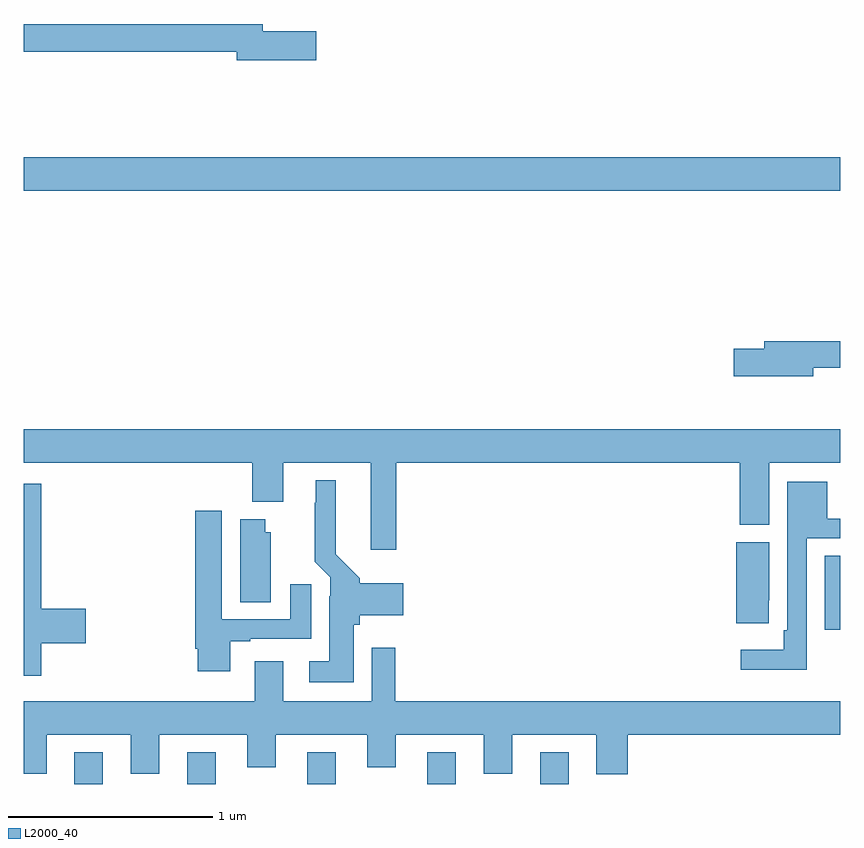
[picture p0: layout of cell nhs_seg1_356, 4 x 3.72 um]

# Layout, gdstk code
import gdstk
lib = gdstk.Library(unit=1e-6, precision=1e-09)
def R(c, l, rs):  # rectangles x0, y0, x1, y1
    for r in rs: c.add(gdstk.rectangle(r[:2], r[2:], *l))
def A(c, l, x, y, w, h, nx, ny, dx, dy):  # array of equal rectangles
    R(c, l, [(x+i*dx, y+j*dy, x+i*dx+w, y+j*dy+h) for i in range(nx) for j in range(ny)])
def P(c, l, *ps):  # polygons
    for p in ps: c.add(gdstk.Polygon(p, *l))
L2000_40 = (2000, 40)

nhs_seg1_356 = lib.new_cell('nhs_seg1_356')
A(nhs_seg1_356, L2000_40, 131.801, 510.199, 0.14, 0.156, 3, 1, 0.588, 0)
R(nhs_seg1_356, L2000_40, [(131.249,510.199,131.389,510.355), (133.529,510.199,133.669,510.355), (134.924,510.954,135,511.316), (131,513.104,135,513.268)])
P(nhs_seg1_356, L2000_40, [(132.433,513.884),(132.172,513.884),(132.172,513.92),(131,513.92),(131,513.784),(132.044,513.784),(132.044,513.742),(132.433,513.742)],
  [(134.866,512.238),(135,512.238),(135,512.366),(134.627,512.366),(134.627,512.33),(134.478,512.33),(134.478,512.195),(134.866,512.195)],
  [(132.824,511.772),(134.507,511.772),(134.507,511.468),(134.65,511.468),(134.65,511.772),(135,511.772),(135,511.936),(131,511.936),(131,511.772),(132.119,511.772),(132.119,511.58),(132.271,511.58),(132.271,511.772),(132.701,511.772),(132.701,511.347),(132.824,511.347)],
  [(132.616,510.978),(132.647,510.978),(132.647,511.025),(132.859,511.025),(132.859,511.183),(132.647,511.183),(132.647,511.206),(132.529,511.324),(132.529,511.687),(132.431,511.687),(132.431,511.577),(132.427,511.577),(132.427,511.286),(132.501,511.212),(132.501,511.118),(132.497,511.118),(132.497,510.799),(132.399,510.799),(132.399,510.698),(132.616,510.698)],
  [(134.835,511.401),(135,511.401),(135,511.497),(134.935,511.497),(134.935,511.678),(134.739,511.678),(134.739,510.952),(134.723,510.952),(134.723,510.856),(134.511,510.856),(134.511,510.758),(134.835,510.758)],
  [(131.087,510.887),(131.305,510.887),(131.305,511.058),(131.087,511.058),(131.087,511.669),(131,511.669),(131,510.729),(131.087,510.729)],
  [(132.013,510.897),(132.109,510.897),(132.109,510.909),(132.409,510.909),(132.409,511.177),(132.305,511.177),(132.305,511.005),(131.971,511.005),(131.971,511.537),(131.84,511.537),(131.84,510.862),(131.852,510.862),(131.852,510.75),(132.013,510.75)],
  [(132.211,511.431),(132.184,511.431),(132.184,511.495),(132.062,511.495),(132.062,511.09),(132.211,511.09)],
  [(134.649,511.099),(134.65,511.099),(134.65,511.383),(134.489,511.383),(134.489,510.987),(134.649,510.987)],
  [(133.958,510.44),(135,510.44),(135,510.604),(132.821,510.604),(132.821,510.865),(132.705,510.865),(132.705,510.604),(132.271,510.604),(132.271,510.799),(132.131,510.799),(132.131,510.604),(131,510.604),(131,510.25),(131.113,510.25),(131.113,510.44),(131.525,510.44),(131.525,510.25),(131.665,510.25),(131.665,510.44),(132.095,510.44),(132.095,510.28),(132.235,510.28),(132.235,510.44),(132.683,510.44),(132.683,510.28),(132.823,510.28),(132.823,510.44),(133.253,510.44),(133.253,510.25),(133.393,510.25),(133.393,510.44),(133.805,510.44),(133.805,510.246),(133.958,510.246)])

lib.write_gds('nhs_seg1_356.gds')
